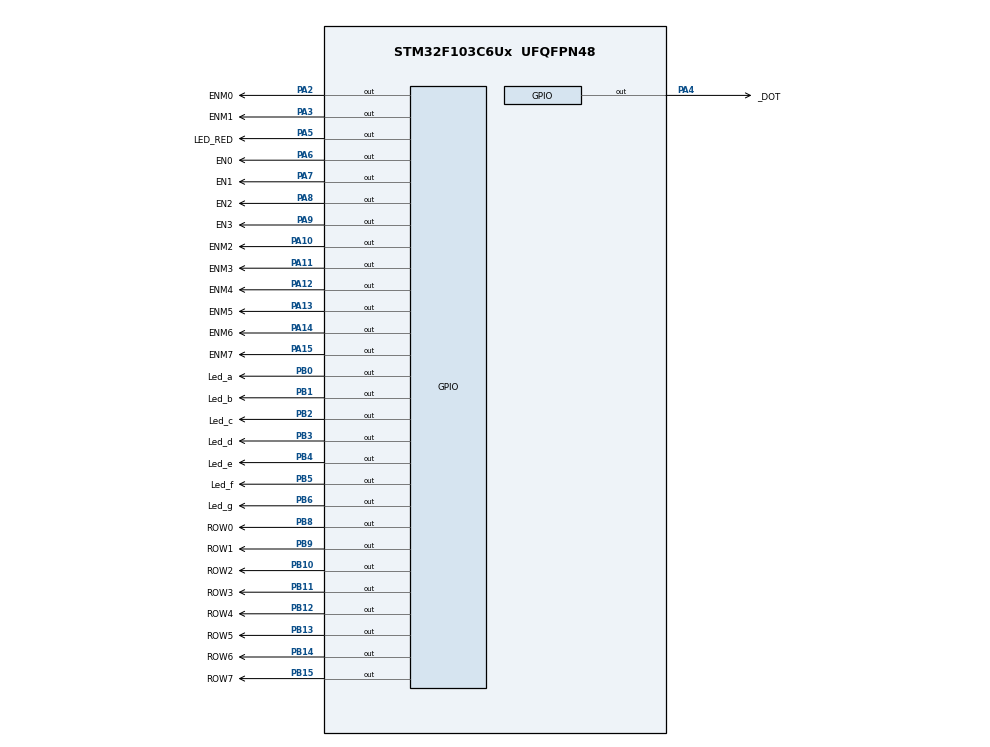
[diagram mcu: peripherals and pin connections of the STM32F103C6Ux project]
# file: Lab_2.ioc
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Mcu.Family=STM32F1
Mcu.Name=STM32F103C6Ux
Mcu.Package=UFQFPN48
NVIC.PriorityGroup=NVIC_PRIORITYGROUP_4
NVIC.TIM2_IRQn=true\:0\:0\:false\:false\:true\:true\:true
PA10.GPIO_Label=ENM2
PA10.Signal=GPIO_Output
PA11.GPIO_Label=ENM3
PA11.Signal=GPIO_Output
PA12.GPIO_Label=ENM4
PA12.Signal=GPIO_Output
PA13.GPIO_Label=ENM5
PA13.Signal=GPIO_Output
PA14.GPIO_Label=ENM6
PA14.Signal=GPIO_Output
PA15.GPIO_Label=ENM7
PA15.Signal=GPIO_Output
PA2.GPIO_Label=ENM0
PA2.Signal=GPIO_Output
PA3.GPIO_Label=ENM1
PA3.Signal=GPIO_Output
PA4.GPIO_Label=_DOT
PA4.Signal=GPIO_Output
PA5.GPIO_Label=LED_RED
PA5.Signal=GPIO_Output
PA6.GPIO_Label=EN0
PA6.Signal=GPIO_Output
PA7.GPIO_Label=EN1
PA7.Signal=GPIO_Output
PA8.GPIO_Label=EN2
PA8.Signal=GPIO_Output
PA9.GPIO_Label=EN3
PA9.Signal=GPIO_Output
PB0.GPIO_Label=Led_a
PB0.Signal=GPIO_Output
PB1.GPIO_Label=Led_b
PB1.Signal=GPIO_Output
PB10.GPIO_Label=ROW2
PB10.Signal=GPIO_Output
PB11.GPIO_Label=ROW3
PB11.Signal=GPIO_Output
PB12.GPIO_Label=ROW4
PB12.Signal=GPIO_Output
PB13.GPIO_Label=ROW5
PB13.Signal=GPIO_Output
PB14.GPIO_Label=ROW6
PB14.Signal=GPIO_Output
PB15.GPIO_Label=ROW7
PB15.Signal=GPIO_Output
PB2.GPIO_Label=Led_c
PB2.Signal=GPIO_Output
PB3.GPIO_Label=Led_d
PB3.Signal=GPIO_Output
PB4.GPIO_Label=Led_e
PB4.Signal=GPIO_Output
PB5.GPIO_Label=Led_f
PB5.Signal=GPIO_Output
PB6.GPIO_Label=Led_g
PB6.Signal=GPIO_Output
PB8.GPIO_Label=ROW0
PB8.Signal=GPIO_Output
PB9.GPIO_Label=ROW1
PB9.Signal=GPIO_Output
ProjectManager.HeapSize=0x200
ProjectManager.StackSize=0x400
ProjectManager.TargetToolchain=STM32CubeIDE
RCC.APB1Freq_Value=8000000
RCC.APB2Freq_Value=8000000
TIM2.Period=10
TIM2.Prescaler=7999
VP_SYS_VS_ND.Mode=No_Debug
VP_TIM2_VS_ClockSourceINT.Mode=Internal
board=custom

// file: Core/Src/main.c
/* USER CODE BEGIN Header */
/**
  ******************************************************************************
  * @file           : main.c
  * @brief          : Main program body
  ******************************************************************************
  * @attention
  *
  * <h2><center>&copy; Copyright (c) 2023 STMicroelectronics.
  * All rights reserved.</center></h2>
  *
  * This software component is licensed by ST under BSD 3-Clause license,
  * the "License"; You may not use this file except in compliance with the
  * License. You may obtain a copy of the License at:
  *                        opensource.org/licenses/BSD-3-Clause
  *
  ******************************************************************************
  */
/* USER CODE END Header */
#include "main.h"

/* USER CODE BEGIN Includes */
#include "software_timer.h"
#include "leds.h"
/* USER CODE END Includes */

TIM_HandleTypeDef htim2;

void SystemClock_Config(void);
static void MX_GPIO_Init(void);
static void MX_TIM2_Init(void);

int main(void)
{

  /* MCU Configuration--------------------------------------------------------*/

  /* Reset of all peripherals, Initializes the Flash interface and the Systick. */
  HAL_Init();

  /* Configure the system clock */
  SystemClock_Config();

  /* Initialize all configured peripherals */
  MX_GPIO_Init();
  MX_TIM2_Init();
  /* USER CODE BEGIN 2 */
  HAL_TIM_Base_Start_IT(&htim2);

  //Initial state
  setTimer1(1);
  setTimer2(1);
  setTimer3(100);
  setTimer4(1);
  setTimer5(1);
  HAL_GPIO_WritePin(LED_RED_GPIO_Port, LED_RED_Pin, RESET);
  HAL_GPIO_WritePin(EN0_GPIO_Port, EN0_Pin, RESET);
  HAL_GPIO_WritePin(EN1_GPIO_Port, EN1_Pin, SET);
  HAL_GPIO_WritePin(EN2_GPIO_Port, EN2_Pin, SET);
  HAL_GPIO_WritePin(EN3_GPIO_Port, EN3_Pin, SET);
  HAL_GPIO_WritePin(_DOT_GPIO_Port, _DOT_Pin, SET);
  int hour = 15 , minute = 8 , second = 50;
  int shift = 0;

  /* USER CODE END 2 */

  /* Infinite loop */
  /* USER CODE BEGIN WHILE */
  while (1)
  {
	  if(timer1_flag == 1){
		  if(second >= 60){
			  second = 0;
			  minute++;
		  }
		  if(minute >= 60){
			  minute = 0;
			  hour++;
		  }
		  if(hour >= 24){
			  hour = 0;
		  }
		  second++;
		  updateClockBuffer(hour, minute);
		  setTimer1(100);
	  }

	  if(timer2_flag == 1){
		  update7SEG(index_led);
		  index_led = (index_led + 1) % MAX_LED;
		  setTimer2(25);
	  }

	  if(timer3_flag == 1){
		  HAL_GPIO_TogglePin(_DOT_GPIO_Port, _DOT_Pin);
		  HAL_GPIO_TogglePin(LED_RED_GPIO_Port, LED_RED_Pin);
		  setTimer3(100);
	  }

	  if(timer4_flag == 1){
		  updateLEDMatrix(index_led_matrix);
		  setTimer4(1);
	  }
	  if(timer5_flag == 1){
		  index_led_matrix++;
		  if(index_led_matrix >= MAX_LED_MATRIX)
		  			  update_shift(shift++);
		  shift = shift % MAX_LED_MATRIX;
		  index_led_matrix = index_led_matrix % MAX_LED_MATRIX;
		  setTimer5(2);
	  }
    /* USER CODE END WHILE */

  }
}

void SystemClock_Config(void)
{
  RCC_OscInitTypeDef RCC_OscInitStruct = {0};
  RCC_ClkInitTypeDef RCC_ClkInitStruct = {0};

  /** Initializes the RCC Oscillators according to the specified parameters
  * in the RCC_OscInitTypeDef structure.
  */
  RCC_OscInitStruct.OscillatorType = RCC_OSCILLATORTYPE_HSI;
  RCC_OscInitStruct.HSIState = RCC_HSI_ON;
  RCC_OscInitStruct.HSICalibrationValue = RCC_HSICALIBRATION_DEFAULT;
  RCC_OscInitStruct.PLL.PLLState = RCC_PLL_NONE;
  if (HAL_RCC_OscConfig(&RCC_OscInitStruct) != HAL_OK)
  {
    Error_Handler();
  }
  /** Initializes the CPU, AHB and APB buses clocks
  */
  RCC_ClkInitStruct.ClockType = RCC_CLOCKTYPE_HCLK|RCC_CLOCKTYPE_SYSCLK
                              |RCC_CLOCKTYPE_PCLK1|RCC_CLOCKTYPE_PCLK2;
  RCC_ClkInitStruct.SYSCLKSource = RCC_SYSCLKSOURCE_HSI;
  RCC_ClkInitStruct.AHBCLKDivider = RCC_SYSCLK_DIV1;
  RCC_ClkInitStruct.APB1CLKDivider = RCC_HCLK_DIV1;
  RCC_ClkInitStruct.APB2CLKDivider = RCC_HCLK_DIV1;

  if (HAL_RCC_ClockConfig(&RCC_ClkInitStruct, FLASH_LATENCY_0) != HAL_OK)
  {
    Error_Handler();
  }
}

static void MX_TIM2_Init(void)
{

  TIM_ClockConfigTypeDef sClockSourceConfig = {0};
  TIM_MasterConfigTypeDef sMasterConfig = {0};

  htim2.Instance = TIM2;
  htim2.Init.Prescaler = 7999;
  htim2.Init.CounterMode = TIM_COUNTERMODE_UP;
  htim2.Init.Period = 10;
  htim2.Init.ClockDivision = TIM_CLOCKDIVISION_DIV1;
  htim2.Init.AutoReloadPreload = TIM_AUTORELOAD_PRELOAD_DISABLE;
  if (HAL_TIM_Base_Init(&htim2) != HAL_OK)
  {
    Error_Handler();
  }
  sClockSourceConfig.ClockSource = TIM_CLOCKSOURCE_INTERNAL;
  if (HAL_TIM_ConfigClockSource(&htim2, &sClockSourceConfig) != HAL_OK)
  {
    Error_Handler();
  }
  sMasterConfig.MasterOutputTrigger = TIM_TRGO_RESET;
  sMasterConfig.MasterSlaveMode = TIM_MASTERSLAVEMODE_DISABLE;
  if (HAL_TIMEx_MasterConfigSynchronization(&htim2, &sMasterConfig) != HAL_OK)
  {
    Error_Handler();
  }

}

static void MX_GPIO_Init(void)
{
  GPIO_InitTypeDef GPIO_InitStruct = {0};

  /* GPIO Ports Clock Enable */
  __HAL_RCC_GPIOA_CLK_ENABLE();
  __HAL_RCC_GPIOB_CLK_ENABLE();

  /*Configure GPIO pin Output Level */
  HAL_GPIO_WritePin(GPIOA, ENM0_Pin|ENM1_Pin|_DOT_Pin|LED_RED_Pin
                          |EN0_Pin|EN1_Pin|EN2_Pin|EN3_Pin
                          |ENM2_Pin|ENM3_Pin|ENM4_Pin|ENM5_Pin
                          |ENM6_Pin|ENM7_Pin, GPIO_PIN_RESET);

  /*Configure GPIO pin Output Level */
  HAL_GPIO_WritePin(GPIOB, Led_a_Pin|Led_b_Pin|Led_c_Pin|ROW2_Pin
                          |ROW3_Pin|ROW4_Pin|ROW5_Pin|ROW6_Pin
                          |ROW7_Pin|Led_d_Pin|Led_e_Pin|Led_f_Pin
                          |Led_g_Pin|ROW0_Pin|ROW1_Pin, GPIO_PIN_RESET);

  /*Configure GPIO pins : ENM0_Pin ENM1_Pin _DOT_Pin LED_RED_Pin
                           EN0_Pin EN1_Pin EN2_Pin EN3_Pin
                           ENM2_Pin ENM3_Pin ENM4_Pin ENM5_Pin
                           ENM6_Pin ENM7_Pin */
  GPIO_InitStruct.Pin = ENM0_Pin|ENM1_Pin|_DOT_Pin|LED_RED_Pin
                          |EN0_Pin|EN1_Pin|EN2_Pin|EN3_Pin
                          |ENM2_Pin|ENM3_Pin|ENM4_Pin|ENM5_Pin
                          |ENM6_Pin|ENM7_Pin;
  GPIO_InitStruct.Mode = GPIO_MODE_OUTPUT_PP;
  GPIO_InitStruct.Pull = GPIO_NOPULL;
  GPIO_InitStruct.Speed = GPIO_SPEED_FREQ_LOW;
  HAL_GPIO_Init(GPIOA, &GPIO_InitStruct);

  /*Configure GPIO pins : Led_a_Pin Led_b_Pin Led_c_Pin ROW2_Pin
                           ROW3_Pin ROW4_Pin ROW5_Pin ROW6_Pin
                           ROW7_Pin Led_d_Pin Led_e_Pin Led_f_Pin
                           Led_g_Pin ROW0_Pin ROW1_Pin */
  GPIO_InitStruct.Pin = Led_a_Pin|Led_b_Pin|Led_c_Pin|ROW2_Pin
                          |ROW3_Pin|ROW4_Pin|ROW5_Pin|ROW6_Pin
                          |ROW7_Pin|Led_d_Pin|Led_e_Pin|Led_f_Pin
                          |Led_g_Pin|ROW0_Pin|ROW1_Pin;
  GPIO_InitStruct.Mode = GPIO_MODE_OUTPUT_PP;
  GPIO_InitStruct.Pull = GPIO_NOPULL;
  GPIO_InitStruct.Speed = GPIO_SPEED_FREQ_LOW;
  HAL_GPIO_Init(GPIOB, &GPIO_InitStruct);

}

/* USER CODE BEGIN 4 */
void HAL_TIM_PeriodElapsedCallback ( TIM_HandleTypeDef * htim ){
	timerRun();
}
/* USER CODE END 4 */

void Error_Handler(void)
{
  __disable_irq();
  while (1)
  {
  }
}

/************************ (C) COPYRIGHT STMicroelectronics *****END OF FILE****/
